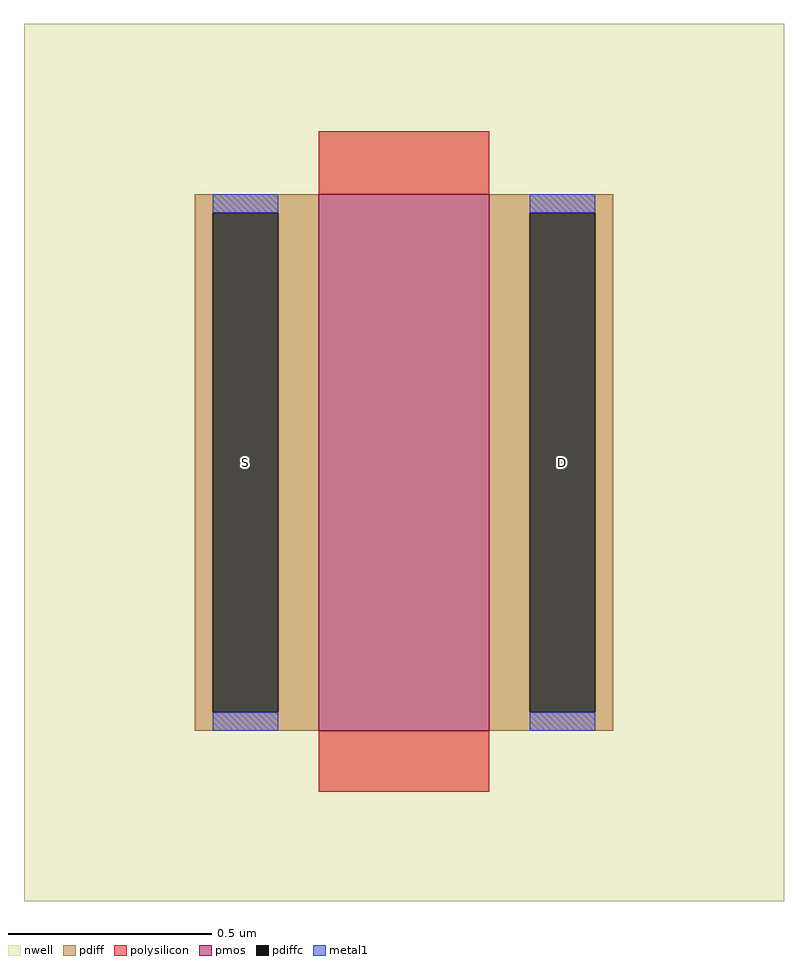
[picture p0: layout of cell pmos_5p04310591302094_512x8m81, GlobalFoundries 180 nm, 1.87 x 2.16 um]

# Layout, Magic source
magic
tech gf180mcuD
magscale 1 10
<< nwell >>
rect -145 -84 229 348
<< pmos >>
rect 0 0 84 264
<< pdiff >>
rect -61 255 0 264
rect -61 9 -52 255
rect -20 9 0 255
rect -61 0 0 9
rect 84 255 145 264
rect 84 9 104 255
rect 136 9 145 255
rect 84 0 145 9
<< pdiffc >>
rect -52 9 -20 255
rect 104 9 136 255
<< polysilicon >>
rect 0 264 84 295
rect 0 -30 84 0
<< metal1 >>
rect -52 255 -20 264
rect -52 0 -20 9
rect 104 255 136 264
rect 104 0 136 9
<< labels >>
flabel pdiffc -36 132 -36 132 0 FreeSans 280 0 0 0 S
flabel pdiffc 120 132 120 132 0 FreeSans 280 0 0 0 D
<< end >>
